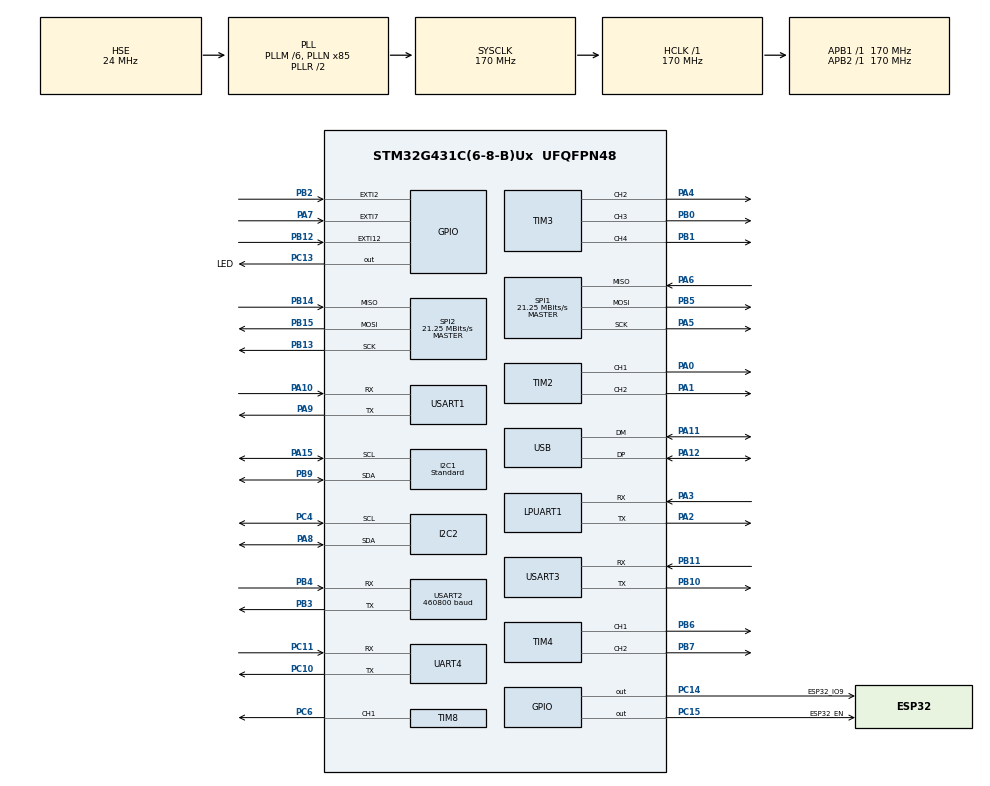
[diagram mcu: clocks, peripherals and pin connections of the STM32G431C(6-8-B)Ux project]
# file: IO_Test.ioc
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ADC1.Channel-14\#ChannelRegularConversion=ADC_CHANNEL_VREFINT
ADC1.ExternalTrigConv=ADC_EXTERNALTRIG_T1_TRGO
ADC1.NbrOfConversionFlag=1
ADC1.OffsetNumber-14\#ChannelRegularConversion=ADC_OFFSET_NONE
ADC1.Rank-14\#ChannelRegularConversion=1
ADC1.SamplingTime-14\#ChannelRegularConversion=ADC_SAMPLETIME_92CYCLES_5
ADC1.master=1
I2C1.I2C_Speed_Mode=I2C_Standard
I2C1.Timing=0x40B285C2
I2C2.Timing=0x40B285C2
Mcu.Family=STM32G4
Mcu.Name=STM32G431C(6-8-B)Ux
Mcu.Package=UFQFPN48
NVIC.ADC1_2_IRQn=true\:0\:0\:false\:false\:true\:true\:true\:true
NVIC.PriorityGroup=NVIC_PRIORITYGROUP_4
NVIC.UART4_IRQn=true\:0\:0\:false\:false\:true\:true\:true\:true
NVIC.USART1_IRQn=true\:0\:0\:false\:false\:true\:true\:true\:true
NVIC.USART2_IRQn=true\:0\:0\:false\:false\:true\:true\:true\:true
NVIC.USART3_IRQn=true\:0\:0\:false\:false\:true\:true\:true\:true
NVIC.USB_LP_IRQn=true\:0\:0\:false\:false\:true\:false\:true\:true
PA0.Signal=S_TIM2_CH1
PA1.Signal=S_TIM2_CH2
PA10.Mode=Asynchronous
PA10.Signal=USART1_RX
PA11.Mode=Device
PA11.Signal=USB_DM
PA12.Mode=Device
PA12.Signal=USB_DP
PA13.Mode=Serial_Wire
PA13.Signal=SYS_JTMS-SWDIO
PA14.Mode=Serial_Wire
PA14.Signal=SYS_JTCK-SWCLK
PA15.Mode=I2C
PA15.Signal=I2C1_SCL
PA2.Mode=Asynchronous
PA2.Signal=LPUART1_TX
PA3.Mode=Asynchronous
PA3.Signal=LPUART1_RX
PA4.Signal=S_TIM3_CH2
PA5.Mode=Full_Duplex_Master
PA5.Signal=SPI1_SCK
PA6.Mode=Full_Duplex_Master
PA6.Signal=SPI1_MISO
PA7.Signal=GPXTI7
PA8.Mode=I2C
PA8.Signal=I2C2_SDA
PA9.Mode=Asynchronous
PA9.Signal=USART1_TX
PB0.Signal=S_TIM3_CH3
PB1.Signal=S_TIM3_CH4
PB10.Mode=Asynchronous
PB10.Signal=USART3_TX
PB11.Mode=Asynchronous
PB11.Signal=USART3_RX
PB12.Signal=GPXTI12
PB13.Mode=Full_Duplex_Master
PB13.Signal=SPI2_SCK
PB14.Mode=Full_Duplex_Master
PB14.Signal=SPI2_MISO
PB15.Mode=Full_Duplex_Master
PB15.Signal=SPI2_MOSI
PB2.Signal=GPXTI2
PB3.Mode=Asynchronous
PB3.Signal=USART2_TX
PB4.Mode=Asynchronous
PB4.Signal=USART2_RX
PB5.Mode=Full_Duplex_Master
PB5.Signal=SPI1_MOSI
PB6.Signal=S_TIM4_CH1
PB7.Signal=S_TIM4_CH2
PB9.Mode=I2C
PB9.Signal=I2C1_SDA
PC10.Mode=Asynchronous
PC10.Signal=UART4_TX
PC11.Mode=Asynchronous
PC11.Signal=UART4_RX
PC13.GPIO_Label=LED
PC13.Signal=GPIO_Output
PC14-OSC32_IN.GPIO_Label=ESP32_IO9
PC14-OSC32_IN.Signal=GPIO_Output
PC15-OSC32_OUT.GPIO_Label=ESP32_EN
PC15-OSC32_OUT.Signal=GPIO_Output
PC4.Mode=I2C
PC4.Signal=I2C2_SCL
PC6.Signal=S_TIM8_CH1
PF0-OSC_IN.Mode=HSE-External-Oscillator
PF0-OSC_IN.Signal=RCC_OSC_IN
PF1-OSC_OUT.Mode=HSE-External-Oscillator
PF1-OSC_OUT.Signal=RCC_OSC_OUT
ProjectManager.HeapSize=0x200
ProjectManager.StackSize=0x400
ProjectManager.TargetToolchain=MDK-ARM V5.32
RCC.ADC12Freq_Value=170000000
RCC.AHBFreq_Value=170000000
RCC.APB1Freq_Value=170000000
RCC.APB1TimFreq_Value=170000000
RCC.APB2Freq_Value=170000000
RCC.APB2TimFreq_Value=170000000
RCC.CK48CLockSelection=RCC_USBCLKSOURCE_HSI48
RCC.CortexFreq_Value=170000000
RCC.EXTERNAL_CLOCK_VALUE=12288000
RCC.HCLKFreq_Value=170000000
RCC.HSE_VALUE=24000000
RCC.HSI48_VALUE=48000000
RCC.HSI_VALUE=16000000
RCC.LSE_VALUE=32768
RCC.PLLM=RCC_PLLM_DIV6
RCC.PLLN=85
RCC.PLLSourceVirtual=RCC_PLLSOURCE_HSE
RCC.SYSCLKFreq_VALUE=170000000
RCC.SYSCLKSource=RCC_SYSCLKSOURCE_PLLCLK
RCC.USBFreq_Value=48000000
RCC.VCOOutputFreq_Value=340000000
SH.S_TIM2_CH1.0=TIM2_CH1,PWM Generation1 CH1
SH.S_TIM2_CH2.0=TIM2_CH2,PWM Generation2 CH2
SH.S_TIM3_CH2.0=TIM3_CH2,PWM Generation2 CH2
SH.S_TIM3_CH3.0=TIM3_CH3,PWM Generation3 CH3
SH.S_TIM3_CH4.0=TIM3_CH4,PWM Generation4 CH4
SH.S_TIM4_CH1.0=TIM4_CH1,PWM Generation1 CH1
SH.S_TIM4_CH2.0=TIM4_CH2,PWM Generation2 CH2
SH.S_TIM8_CH1.0=TIM8_CH1,PWM Generation1 CH1
SPI1.BaudRatePrescaler=SPI_BAUDRATEPRESCALER_8
SPI1.CalculateBaudRate=21.25 MBits/s
SPI1.Direction=SPI_DIRECTION_2LINES
SPI1.Mode=SPI_MODE_MASTER
SPI1.VirtualType=VM_MASTER
SPI2.BaudRatePrescaler=SPI_BAUDRATEPRESCALER_8
SPI2.CalculateBaudRate=21.25 MBits/s
SPI2.Direction=SPI_DIRECTION_2LINES
SPI2.Mode=SPI_MODE_MASTER
SPI2.VirtualType=VM_MASTER
TIM1.PeriodNoDither=4999
TIM1.Prescaler=16999
TIM1.TIM_MasterOutputTrigger=TIM_TRGO_UPDATE
TIM2.Channel-PWM\ Generation1\ CH1=TIM_CHANNEL_1
TIM2.Channel-PWM\ Generation2\ CH2=TIM_CHANNEL_2
TIM3.Channel-PWM\ Generation2\ CH2=TIM_CHANNEL_2
TIM3.Channel-PWM\ Generation3\ CH3=TIM_CHANNEL_3
TIM3.Channel-PWM\ Generation4\ CH4=TIM_CHANNEL_4
TIM4.Channel-PWM\ Generation1\ CH1=TIM_CHANNEL_1
TIM4.Channel-PWM\ Generation2\ CH2=TIM_CHANNEL_2
TIM8.Channel-PWM\ Generation1\ CH1=TIM_CHANNEL_1
USART1.VirtualMode-Asynchronous=VM_ASYNC
USART2.BaudRate=460800
USART2.VirtualMode-Asynchronous=VM_ASYNC
USART3.VirtualMode-Asynchronous=VM_ASYNC
USB_DEVICE.CLASS_NAME_FS=CDC
USB_DEVICE.VirtualMode=Cdc
USB_DEVICE.VirtualModeFS=Cdc_FS
VP_ADC1_Vref_Input.Mode=IN-Vrefint
VP_SYS_VS_DBSignals.Mode=DisableDeadBatterySignals
VP_TIM1_VS_ClockSourceINT.Mode=Internal
VP_USB_DEVICE_VS_USB_DEVICE_CDC_FS.Mode=CDC_FS
board=custom

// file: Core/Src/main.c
/* USER CODE BEGIN Header */
/**
  ******************************************************************************
  * @file           : main.c
  * @brief          : Main program body
  ******************************************************************************
  * @attention
  *
  * Copyright (c) 2025 STMicroelectronics.
  * All rights reserved.
  *
  * This software is licensed under terms that can be found in the LICENSE file
  * in the root directory of this software component.
  * If no LICENSE file comes with this software, it is provided AS-IS.
  *
  ******************************************************************************
  */
/* USER CODE END Header */
#include "main.h"
#include "adc.h"
#include "i2c.h"
#include "usart.h"
#include "spi.h"
#include "tim.h"
#include "usb_device.h"
#include "gpio.h"

/* USER CODE BEGIN Includes */
#include "usbd_cdc_if.h"
#include "POM_ESP32_C3.h"
/* USER CODE END Includes */

/* USER CODE BEGIN PD */
#define USE_DEBUG
#define USE_INFO
#define USE_PRINT

#if defined(USE_DEBUG) || defined(USE_INFO) || defined(USE_PRINT)
uint8_t printfBuf[100];
#endif
#ifdef USE_DEBUG
#define LOG_DEBUG(format, ...) CDC_Transmit_FS((uint8_t *)printfBuf, sprintf((char*)printfBuf, "[DEBUG] %s:%d %s(): " format "\n", __FILE__, __LINE__, __func__, ##__VA_ARGS__))
#else
#define LOG_DEBUG(format, ...)
#endif
#ifdef USE_INFO
#define LOG_INFO(format, ...) CDC_Transmit_FS((uint8_t *)printfBuf, sprintf((char*)printfBuf, "[INFO] %d %s(): " format "\n", __LINE__, __func__, ##__VA_ARGS__))
#else
#define LOG_INFO(format, ...)
#endif
#ifdef USE_PRINT
#define LOG_PRINT(format, ...) CDC_Transmit_FS((uint8_t *)printfBuf, sprintf((char*)printfBuf, "[PRINT] %s(): " format "\n", __func__, ##__VA_ARGS__))
#else
#define LOG_PRINT(format, ...)
#endif
/* USER CODE END PD */

void SystemClock_Config(void);

int main(void)
{

  /* MCU Configuration--------------------------------------------------------*/

  /* Reset of all peripherals, Initializes the Flash interface and the Systick. */
  HAL_Init();

  /* Configure the system clock */
  SystemClock_Config();

  /* Initialize all configured peripherals */
  MX_GPIO_Init();
  MX_USB_Device_Init();
  MX_USART2_UART_Init();
  MX_USART3_UART_Init();
  MX_UART4_Init();
  MX_I2C1_Init();
  MX_LPUART1_UART_Init();
  MX_USART1_UART_Init();
  MX_I2C2_Init();
  MX_SPI1_Init();
  MX_SPI2_Init();
  MX_TIM2_Init();
  MX_TIM3_Init();
  MX_TIM4_Init();
  MX_TIM8_Init();
  MX_ADC1_Init();
  MX_TIM1_Init();
  /* USER CODE BEGIN 2 */
  Disable_ESP32_C3();
  HAL_Delay(1000);
  LOG_INFO("Disable_ESP32_C3:OK");
  HAL_ADCEx_Calibration_Start(&hadc1,ADC_SINGLE_ENDED);
  HAL_ADC_Start_IT(&hadc1);
  HAL_TIM_Base_Start(&htim1);
  /* USER CODE END 2 */

  /* Infinite loop */
  while (1)
  {

  }
}

void SystemClock_Config(void)
{
  RCC_OscInitTypeDef RCC_OscInitStruct = {0};
  RCC_ClkInitTypeDef RCC_ClkInitStruct = {0};

  /** Configure the main internal regulator output voltage
  */
  HAL_PWREx_ControlVoltageScaling(PWR_REGULATOR_VOLTAGE_SCALE1_BOOST);

  /** Initializes the RCC Oscillators according to the specified parameters
  * in the RCC_OscInitTypeDef structure.
  */
  RCC_OscInitStruct.OscillatorType = RCC_OSCILLATORTYPE_HSI48|RCC_OSCILLATORTYPE_HSE;
  RCC_OscInitStruct.HSEState = RCC_HSE_ON;
  RCC_OscInitStruct.HSI48State = RCC_HSI48_ON;
  RCC_OscInitStruct.PLL.PLLState = RCC_PLL_ON;
  RCC_OscInitStruct.PLL.PLLSource = RCC_PLLSOURCE_HSE;
  RCC_OscInitStruct.PLL.PLLM = RCC_PLLM_DIV6;
  RCC_OscInitStruct.PLL.PLLN = 85;
  RCC_OscInitStruct.PLL.PLLP = RCC_PLLP_DIV2;
  RCC_OscInitStruct.PLL.PLLQ = RCC_PLLQ_DIV2;
  RCC_OscInitStruct.PLL.PLLR = RCC_PLLR_DIV2;
  if (HAL_RCC_OscConfig(&RCC_OscInitStruct) != HAL_OK)
  {
    Error_Handler();
  }

  /** Initializes the CPU, AHB and APB buses clocks
  */
  RCC_ClkInitStruct.ClockType = RCC_CLOCKTYPE_HCLK|RCC_CLOCKTYPE_SYSCLK
                              |RCC_CLOCKTYPE_PCLK1|RCC_CLOCKTYPE_PCLK2;
  RCC_ClkInitStruct.SYSCLKSource = RCC_SYSCLKSOURCE_PLLCLK;
  RCC_ClkInitStruct.AHBCLKDivider = RCC_SYSCLK_DIV1;
  RCC_ClkInitStruct.APB1CLKDivider = RCC_HCLK_DIV1;
  RCC_ClkInitStruct.APB2CLKDivider = RCC_HCLK_DIV1;

  if (HAL_RCC_ClockConfig(&RCC_ClkInitStruct, FLASH_LATENCY_4) != HAL_OK)
  {
    Error_Handler();
  }
}

/* USER CODE BEGIN 4 */
void HAL_ADC_ConvCpltCallback(ADC_HandleTypeDef* hadc)
{
  if(hadc->Instance == ADC1)
  {
    uint32_t val = HAL_ADC_GetValue(&hadc1);
    uint32_t vdda_mV = (*VREFINT_CAL_ADDR * VREFINT_CAL_VREF) / val;
    uint32_t vref_mV = (val * vdda_mV)>>12;
    LOG_PRINT("Vref = %dmV",vref_mV);
  }
}
/* USER CODE END 4 */

void Error_Handler(void)
{
  __disable_irq();
  while (1)
  {
  }
}
